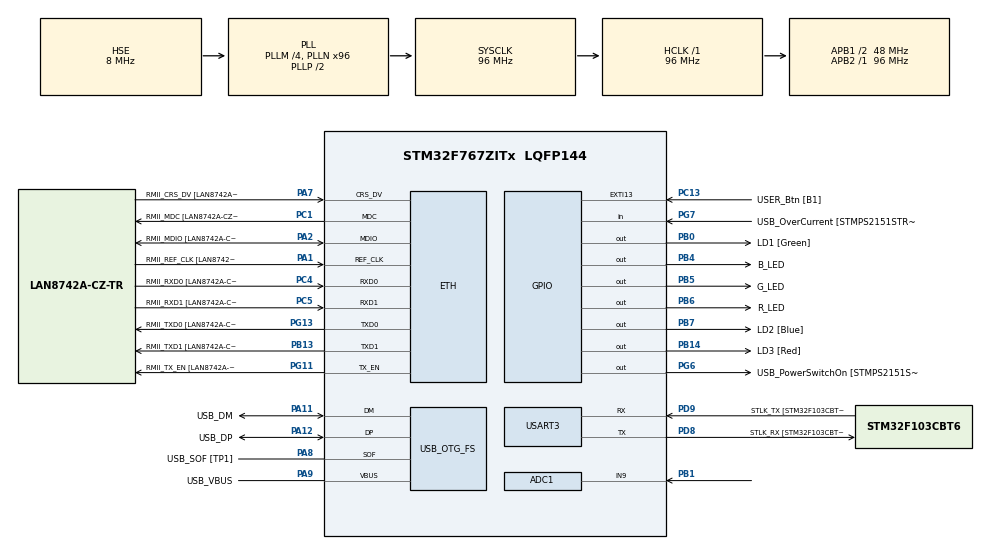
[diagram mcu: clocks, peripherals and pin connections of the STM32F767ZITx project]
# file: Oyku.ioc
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ADC1.Channel-0\#ChannelRegularConversion=ADC_CHANNEL_9
ADC1.ContinuousConvMode=ENABLE
ADC1.NbrOfConversionFlag=1
ADC1.Rank-0\#ChannelRegularConversion=1
ADC1.Resolution=ADC_RESOLUTION_10B
ADC1.SamplingTime-0\#ChannelRegularConversion=ADC_SAMPLETIME_3CYCLES
ADC1.master=1
ETH.MediaInterface=HAL_ETH_RMII_MODE
ETH.PHY_Name=LAN8742A_PHY_ADDRESS
ETH.PHY_Value=0
ETH.PhyAddress=0
Mcu.Family=STM32F7
Mcu.Name=STM32F767ZITx
Mcu.Package=LQFP144
NVIC.PriorityGroup=NVIC_PRIORITYGROUP_4
PA1.GPIO_Label=RMII_REF_CLK [LAN8742A-CZ-TR_REFCLK0]
PA1.Mode=RMII
PA1.Signal=ETH_REF_CLK
PA10.GPIO_Label=USB_ID
PA10.Signal=USB_OTG_FS_ID
PA11.GPIO_Label=USB_DM
PA11.Mode=Device_Only
PA11.Signal=USB_OTG_FS_DM
PA12.GPIO_Label=USB_DP
PA12.Mode=Device_Only
PA12.Signal=USB_OTG_FS_DP
PA13.GPIO_Label=TMS
PA13.Mode=Serial_Wire
PA13.Signal=SYS_JTMS-SWDIO
PA14.GPIO_Label=TCK
PA14.Mode=Serial_Wire
PA14.Signal=SYS_JTCK-SWCLK
PA2.GPIO_Label=RMII_MDIO [LAN8742A-CZ-TR_MDIO]
PA2.Mode=RMII
PA2.Signal=ETH_MDIO
PA7.GPIO_Label=RMII_CRS_DV [LAN8742A-CZ-TR_CRS_DV]
PA7.Mode=RMII
PA7.Signal=ETH_CRS_DV
PA8.GPIO_Label=USB_SOF [TP1]
PA8.Mode=Activate_SOF_FS
PA8.Signal=USB_OTG_FS_SOF
PA9.GPIO_Label=USB_VBUS
PA9.Mode=Activate_VBUS
PA9.Signal=USB_OTG_FS_VBUS
PB0.GPIO_Label=LD1 [Green]
PB0.Signal=GPIO_Output
PB1.Signal=ADCx_IN9
PB13.GPIO_Label=RMII_TXD1 [LAN8742A-CZ-TR_TXD1]
PB13.Mode=RMII
PB13.Signal=ETH_TXD1
PB14.GPIO_Label=LD3 [Red]
PB14.Signal=GPIO_Output
PB3.GPIO_Label=SWO
PB3.Signal=SYS_JTDO-SWO
PB4.GPIO_Label=B_LED
PB4.Signal=GPIO_Output
PB5.GPIO_Label=G_LED
PB5.Signal=GPIO_Output
PB6.GPIO_Label=R_LED
PB6.Signal=GPIO_Output
PB7.GPIO_Label=LD2 [Blue]
PB7.Signal=GPIO_Output
PC1.GPIO_Label=RMII_MDC [LAN8742A-CZ-TR_MDC]
PC1.Mode=RMII
PC1.Signal=ETH_MDC
PC13.GPIO_Label=USER_Btn [B1]
PC13.Signal=GPXTI13
PC14/OSC32_IN.Mode=LSE-External-Oscillator
PC14/OSC32_IN.Signal=RCC_OSC32_IN
PC15/OSC32_OUT.Mode=LSE-External-Oscillator
PC15/OSC32_OUT.Signal=RCC_OSC32_OUT
PC4.GPIO_Label=RMII_RXD0 [LAN8742A-CZ-TR_RXD0]
PC4.Mode=RMII
PC4.Signal=ETH_RXD0
PC5.GPIO_Label=RMII_RXD1 [LAN8742A-CZ-TR_RXD1]
PC5.Mode=RMII
PC5.Signal=ETH_RXD1
PD8.GPIO_Label=STLK_RX [STM32F103CBT6_PA3]
PD8.Mode=Asynchronous
PD8.Signal=USART3_TX
PD9.GPIO_Label=STLK_TX [STM32F103CBT6_PA2]
PD9.Mode=Asynchronous
PD9.Signal=USART3_RX
PG11.GPIO_Label=RMII_TX_EN [LAN8742A-CZ-TR_TXEN]
PG11.Mode=RMII
PG11.Signal=ETH_TX_EN
PG13.GPIO_Label=RMII_TXD0 [LAN8742A-CZ-TR_TXD0]
PG13.Mode=RMII
PG13.Signal=ETH_TXD0
PG6.GPIO_Label=USB_PowerSwitchOn [STMPS2151STR_EN]
PG6.Signal=GPIO_Output
PG7.GPIO_Label=USB_OverCurrent [STMPS2151STR_FAULT]
PG7.Signal=GPIO_Input
PH0/OSC_IN.GPIO_Label=MCO [STM32F103CBT6_PA8]
PH0/OSC_IN.Mode=HSE-External-Clock-Source
PH0/OSC_IN.Signal=RCC_OSC_IN
PH1/OSC_OUT.Mode=HSE-External-Clock-Source
PH1/OSC_OUT.Signal=RCC_OSC_OUT
ProjectManager.HeapSize=0x200
ProjectManager.StackSize=0x400
ProjectManager.TargetToolchain=STM32CubeIDE
RCC.48MHZClocksFreq_Value=24000000
RCC.AHBFreq_Value=96000000
RCC.APB1CLKDivider=RCC_HCLK_DIV2
RCC.APB1Freq_Value=48000000
RCC.APB1TimFreq_Value=96000000
RCC.APB2Freq_Value=96000000
RCC.APB2TimFreq_Value=96000000
RCC.CortexFreq_Value=96000000
RCC.HCLKFreq_Value=96000000
RCC.HSE_VALUE=8000000
RCC.HSI_VALUE=16000000
RCC.PLLM=4
RCC.PLLMUL=RCC_PLL_MUL9
RCC.PLLN=96
RCC.PLLQ=4
RCC.PRESCALERUSB=RCC_USBCLKSOURCE_PLL_DIV1_5
RCC.SYSCLKFreq_VALUE=96000000
RCC.SYSCLKSource=RCC_SYSCLKSOURCE_PLLCLK
RCC.SYSCLKSourceVirtual=RCC_SYSCLKSOURCE_PLLCLK
RCC.USBFreq_Value=48000000
RCC.VCOOutputFreq_Value=192000000
SH.ADCx_IN9.0=ADC1_IN9,IN9
USART3.VirtualMode-Asynchronous=VM_ASYNC
USB_OTG_FS.VirtualMode=Device_Only
board=NUCLEO-F767ZI

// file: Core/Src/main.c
/* USER CODE BEGIN Header */
/**
  ******************************************************************************
  * @file           : main.c
  * @brief          : Main program body
  ******************************************************************************
  * @attention
  *
  * Copyright (c) 2024 STMicroelectronics.
  * All rights reserved.
  *
  * This software is licensed under terms that can be found in the LICENSE file
  * in the root directory of this software component.
  * If no LICENSE file comes with this software, it is provided AS-IS.
  *
  ******************************************************************************
  */
/* USER CODE END Header */
#include "main.h"
#include "string.h"

/* USER CODE BEGIN Includes */
uint16_t adc_val = 0;

/* USER CODE END Includes */

#if defined ( __ICCARM__ ) /*!< IAR Compiler */
#pragma location=0x2007c000
ETH_DMADescTypeDef  DMARxDscrTab[ETH_RX_DESC_CNT]; /* Ethernet Rx DMA Descriptors */
#pragma location=0x2007c0a0
ETH_DMADescTypeDef  DMATxDscrTab[ETH_TX_DESC_CNT]; /* Ethernet Tx DMA Descriptors */

#elif defined ( __CC_ARM )  /* MDK ARM Compiler */

__attribute__((at(0x2007c000))) ETH_DMADescTypeDef  DMARxDscrTab[ETH_RX_DESC_CNT]; /* Ethernet Rx DMA Descriptors */
__attribute__((at(0x2007c0a0))) ETH_DMADescTypeDef  DMATxDscrTab[ETH_TX_DESC_CNT]; /* Ethernet Tx DMA Descriptors */

#elif defined ( __GNUC__ ) /* GNU Compiler */

ETH_DMADescTypeDef DMARxDscrTab[ETH_RX_DESC_CNT] __attribute__((section(".RxDecripSection"))); /* Ethernet Rx DMA Descriptors */
ETH_DMADescTypeDef DMATxDscrTab[ETH_TX_DESC_CNT] __attribute__((section(".TxDecripSection")));   /* Ethernet Tx DMA Descriptors */
#endif

ETH_TxPacketConfig TxConfig;

ADC_HandleTypeDef hadc1;

ETH_HandleTypeDef heth;

UART_HandleTypeDef huart3;

PCD_HandleTypeDef hpcd_USB_OTG_FS;

void SystemClock_Config(void);
static void MX_GPIO_Init(void);
static void MX_ETH_Init(void);
static void MX_USART3_UART_Init(void);
static void MX_USB_OTG_FS_PCD_Init(void);
static void MX_ADC1_Init(void);

int main(void)
{

  /* MCU Configuration--------------------------------------------------------*/

  /* Reset of all peripherals, Initializes the Flash interface and the Systick. */
  HAL_Init();

  /* Configure the system clock */
  SystemClock_Config();

  /* Initialize all configured peripherals */
  MX_GPIO_Init();
  MX_ETH_Init();
  MX_USART3_UART_Init();
  MX_USB_OTG_FS_PCD_Init();
  MX_ADC1_Init();

  /* Infinite loop */
  while (1)
  {

    /* USER CODE BEGIN 3 */
	  HAL_ADC_Start(&hadc1);

	  HAL_ADC_PollForConversion(&hadc1, 100);

	  adc_val = HAL_ADC_GetValue(&hadc1);

	  HAL_ADC_Stop(&hadc1);

	  HAL_Delay (100);

	  if (adc_val > 0 && adc_val < 150)
	  {
		  HAL_GPIO_WritePin(R_LED_GPIO_Port, R_LED_Pin, 1);
		  HAL_GPIO_WritePin(G_LED_GPIO_Port, G_LED_Pin, 0);
		  HAL_GPIO_WritePin(B_LED_GPIO_Port, B_LED_Pin, 0);

	  }
	  else if (adc_val > 149 && adc_val < 300)
	  {
		  HAL_GPIO_WritePin(R_LED_GPIO_Port, R_LED_Pin, 0);
		  HAL_GPIO_WritePin(G_LED_GPIO_Port, G_LED_Pin, 1);
		  HAL_GPIO_WritePin(B_LED_GPIO_Port, B_LED_Pin, 0);

	  }

	  else if (adc_val > 299 && adc_val < 450)
	  {
		  HAL_GPIO_WritePin(R_LED_GPIO_Port, R_LED_Pin, 0);
		  HAL_GPIO_WritePin(G_LED_GPIO_Port, G_LED_Pin, 0);
		  HAL_GPIO_WritePin(B_LED_GPIO_Port, B_LED_Pin, 1);

	  }
	  else if (adc_val > 449 && adc_val < 600)
	  {
		  HAL_GPIO_WritePin(R_LED_GPIO_Port, R_LED_Pin, 1);
		  HAL_GPIO_WritePin(G_LED_GPIO_Port, G_LED_Pin, 1);
		  HAL_GPIO_WritePin(B_LED_GPIO_Port, B_LED_Pin, 0);

	  }
	  else if (adc_val > 599 && adc_val < 750)
	  {
		  HAL_GPIO_WritePin(R_LED_GPIO_Port, R_LED_Pin, 1);
		  HAL_GPIO_WritePin(G_LED_GPIO_Port, G_LED_Pin, 0);
		  HAL_GPIO_WritePin(B_LED_GPIO_Port, B_LED_Pin, 1);

	  }

	  else if (adc_val > 749 && adc_val < 900)
	  {
		  HAL_GPIO_WritePin(R_LED_GPIO_Port, R_LED_Pin, 0);
		  HAL_GPIO_WritePin(G_LED_GPIO_Port, G_LED_Pin, 1);
		  HAL_GPIO_WritePin(B_LED_GPIO_Port, B_LED_Pin, 1);

	  }

	  else
	  {
		  HAL_GPIO_WritePin(R_LED_GPIO_Port, R_LED_Pin, 1);
		  HAL_GPIO_WritePin(G_LED_GPIO_Port, G_LED_Pin, 1);
		  HAL_GPIO_WritePin(B_LED_GPIO_Port, B_LED_Pin, 1);

	  }

  }
  /* USER CODE END 3 */
}

void SystemClock_Config(void)
{
  RCC_OscInitTypeDef RCC_OscInitStruct = {0};
  RCC_ClkInitTypeDef RCC_ClkInitStruct = {0};

  /** Configure LSE Drive Capability
  */
  HAL_PWR_EnableBkUpAccess();

  /** Configure the main internal regulator output voltage
  */
  __HAL_RCC_PWR_CLK_ENABLE();
  __HAL_PWR_VOLTAGESCALING_CONFIG(PWR_REGULATOR_VOLTAGE_SCALE3);

  /** Initializes the RCC Oscillators according to the specified parameters
  * in the RCC_OscInitTypeDef structure.
  */
  RCC_OscInitStruct.OscillatorType = RCC_OSCILLATORTYPE_HSE;
  RCC_OscInitStruct.HSEState = RCC_HSE_BYPASS;
  RCC_OscInitStruct.PLL.PLLState = RCC_PLL_ON;
  RCC_OscInitStruct.PLL.PLLSource = RCC_PLLSOURCE_HSE;
  RCC_OscInitStruct.PLL.PLLM = 4;
  RCC_OscInitStruct.PLL.PLLN = 96;
  RCC_OscInitStruct.PLL.PLLP = RCC_PLLP_DIV2;
  RCC_OscInitStruct.PLL.PLLQ = 4;
  RCC_OscInitStruct.PLL.PLLR = 2;
  if (HAL_RCC_OscConfig(&RCC_OscInitStruct) != HAL_OK)
  {
    Error_Handler();
  }

  /** Activate the Over-Drive mode
  */
  if (HAL_PWREx_EnableOverDrive() != HAL_OK)
  {
    Error_Handler();
  }

  /** Initializes the CPU, AHB and APB buses clocks
  */
  RCC_ClkInitStruct.ClockType = RCC_CLOCKTYPE_HCLK|RCC_CLOCKTYPE_SYSCLK
                              |RCC_CLOCKTYPE_PCLK1|RCC_CLOCKTYPE_PCLK2;
  RCC_ClkInitStruct.SYSCLKSource = RCC_SYSCLKSOURCE_PLLCLK;
  RCC_ClkInitStruct.AHBCLKDivider = RCC_SYSCLK_DIV1;
  RCC_ClkInitStruct.APB1CLKDivider = RCC_HCLK_DIV2;
  RCC_ClkInitStruct.APB2CLKDivider = RCC_HCLK_DIV1;

  if (HAL_RCC_ClockConfig(&RCC_ClkInitStruct, FLASH_LATENCY_3) != HAL_OK)
  {
    Error_Handler();
  }
}

static void MX_ADC1_Init(void)
{

  ADC_ChannelConfTypeDef sConfig = {0};

  /** Configure the global features of the ADC (Clock, Resolution, Data Alignment and number of conversion)
  */
  hadc1.Instance = ADC1;
  hadc1.Init.ClockPrescaler = ADC_CLOCK_SYNC_PCLK_DIV4;
  hadc1.Init.Resolution = ADC_RESOLUTION_10B;
  hadc1.Init.ScanConvMode = ADC_SCAN_DISABLE;
  hadc1.Init.ContinuousConvMode = ENABLE;
  hadc1.Init.DiscontinuousConvMode = DISABLE;
  hadc1.Init.ExternalTrigConvEdge = ADC_EXTERNALTRIGCONVEDGE_NONE;
  hadc1.Init.ExternalTrigConv = ADC_SOFTWARE_START;
  hadc1.Init.DataAlign = ADC_DATAALIGN_RIGHT;
  hadc1.Init.NbrOfConversion = 1;
  hadc1.Init.DMAContinuousRequests = DISABLE;
  hadc1.Init.EOCSelection = ADC_EOC_SINGLE_CONV;
  if (HAL_ADC_Init(&hadc1) != HAL_OK)
  {
    Error_Handler();
  }

  /** Configure for the selected ADC regular channel its corresponding rank in the sequencer and its sample time.
  */
  sConfig.Channel = ADC_CHANNEL_9;
  sConfig.Rank = ADC_REGULAR_RANK_1;
  sConfig.SamplingTime = ADC_SAMPLETIME_3CYCLES;
  if (HAL_ADC_ConfigChannel(&hadc1, &sConfig) != HAL_OK)
  {
    Error_Handler();
  }

}

static void MX_ETH_Init(void)
{

   static uint8_t MACAddr[6];

  heth.Instance = ETH;
  MACAddr[0] = 0x00;
  MACAddr[1] = 0x80;
  MACAddr[2] = 0xE1;
  MACAddr[3] = 0x00;
  MACAddr[4] = 0x00;
  MACAddr[5] = 0x00;
  heth.Init.MACAddr = &MACAddr[0];
  heth.Init.MediaInterface = HAL_ETH_RMII_MODE;
  heth.Init.TxDesc = DMATxDscrTab;
  heth.Init.RxDesc = DMARxDscrTab;
  heth.Init.RxBuffLen = 1524;

  if (HAL_ETH_Init(&heth) != HAL_OK)
  {
    Error_Handler();
  }

  memset(&TxConfig, 0 , sizeof(ETH_TxPacketConfig));
  TxConfig.Attributes = ETH_TX_PACKETS_FEATURES_CSUM | ETH_TX_PACKETS_FEATURES_CRCPAD;
  TxConfig.ChecksumCtrl = ETH_CHECKSUM_IPHDR_PAYLOAD_INSERT_PHDR_CALC;
  TxConfig.CRCPadCtrl = ETH_CRC_PAD_INSERT;

}

static void MX_USART3_UART_Init(void)
{

  huart3.Instance = USART3;
  huart3.Init.BaudRate = 115200;
  huart3.Init.WordLength = UART_WORDLENGTH_8B;
  huart3.Init.StopBits = UART_STOPBITS_1;
  huart3.Init.Parity = UART_PARITY_NONE;
  huart3.Init.Mode = UART_MODE_TX_RX;
  huart3.Init.HwFlowCtl = UART_HWCONTROL_NONE;
  huart3.Init.OverSampling = UART_OVERSAMPLING_16;
  huart3.Init.OneBitSampling = UART_ONE_BIT_SAMPLE_DISABLE;
  huart3.AdvancedInit.AdvFeatureInit = UART_ADVFEATURE_NO_INIT;
  if (HAL_UART_Init(&huart3) != HAL_OK)
  {
    Error_Handler();
  }

}

static void MX_USB_OTG_FS_PCD_Init(void)
{

  hpcd_USB_OTG_FS.Instance = USB_OTG_FS;
  hpcd_USB_OTG_FS.Init.dev_endpoints = 6;
  hpcd_USB_OTG_FS.Init.speed = PCD_SPEED_FULL;
  hpcd_USB_OTG_FS.Init.dma_enable = DISABLE;
  hpcd_USB_OTG_FS.Init.phy_itface = PCD_PHY_EMBEDDED;
  hpcd_USB_OTG_FS.Init.Sof_enable = ENABLE;
  hpcd_USB_OTG_FS.Init.low_power_enable = DISABLE;
  hpcd_USB_OTG_FS.Init.lpm_enable = DISABLE;
  hpcd_USB_OTG_FS.Init.vbus_sensing_enable = ENABLE;
  hpcd_USB_OTG_FS.Init.use_dedicated_ep1 = DISABLE;
  if (HAL_PCD_Init(&hpcd_USB_OTG_FS) != HAL_OK)
  {
    Error_Handler();
  }

}

static void MX_GPIO_Init(void)
{
  GPIO_InitTypeDef GPIO_InitStruct = {0};

  /* GPIO Ports Clock Enable */
  __HAL_RCC_GPIOC_CLK_ENABLE();
  __HAL_RCC_GPIOH_CLK_ENABLE();
  __HAL_RCC_GPIOA_CLK_ENABLE();
  __HAL_RCC_GPIOB_CLK_ENABLE();
  __HAL_RCC_GPIOD_CLK_ENABLE();
  __HAL_RCC_GPIOG_CLK_ENABLE();

  /*Configure GPIO pin Output Level */
  HAL_GPIO_WritePin(GPIOB, LD1_Pin|LD3_Pin|B_LED_Pin|G_LED_Pin
                          |R_LED_Pin|LD2_Pin, GPIO_PIN_RESET);

  /*Configure GPIO pin Output Level */
  HAL_GPIO_WritePin(USB_PowerSwitchOn_GPIO_Port, USB_PowerSwitchOn_Pin, GPIO_PIN_RESET);

  /*Configure GPIO pin : USER_Btn_Pin */
  GPIO_InitStruct.Pin = USER_Btn_Pin;
  GPIO_InitStruct.Mode = GPIO_MODE_IT_RISING;
  GPIO_InitStruct.Pull = GPIO_NOPULL;
  HAL_GPIO_Init(USER_Btn_GPIO_Port, &GPIO_InitStruct);

  /*Configure GPIO pins : LD1_Pin LD3_Pin B_LED_Pin G_LED_Pin
                           R_LED_Pin LD2_Pin */
  GPIO_InitStruct.Pin = LD1_Pin|LD3_Pin|B_LED_Pin|G_LED_Pin
                          |R_LED_Pin|LD2_Pin;
  GPIO_InitStruct.Mode = GPIO_MODE_OUTPUT_PP;
  GPIO_InitStruct.Pull = GPIO_NOPULL;
  GPIO_InitStruct.Speed = GPIO_SPEED_FREQ_LOW;
  HAL_GPIO_Init(GPIOB, &GPIO_InitStruct);

  /*Configure GPIO pin : USB_PowerSwitchOn_Pin */
  GPIO_InitStruct.Pin = USB_PowerSwitchOn_Pin;
  GPIO_InitStruct.Mode = GPIO_MODE_OUTPUT_PP;
  GPIO_InitStruct.Pull = GPIO_NOPULL;
  GPIO_InitStruct.Speed = GPIO_SPEED_FREQ_LOW;
  HAL_GPIO_Init(USB_PowerSwitchOn_GPIO_Port, &GPIO_InitStruct);

  /*Configure GPIO pin : USB_OverCurrent_Pin */
  GPIO_InitStruct.Pin = USB_OverCurrent_Pin;
  GPIO_InitStruct.Mode = GPIO_MODE_INPUT;
  GPIO_InitStruct.Pull = GPIO_NOPULL;
  HAL_GPIO_Init(USB_OverCurrent_GPIO_Port, &GPIO_InitStruct);

}

void Error_Handler(void)
{
  __disable_irq();
  while (1)
  {
  }
}
